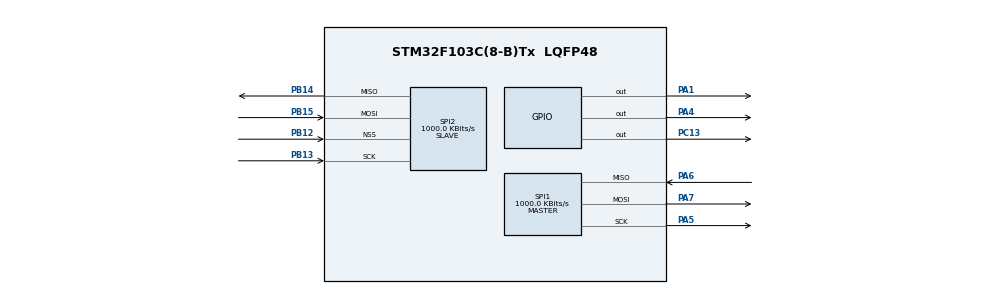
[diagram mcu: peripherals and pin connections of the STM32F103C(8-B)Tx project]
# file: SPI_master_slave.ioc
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Mcu.Family=STM32F1
Mcu.Name=STM32F103C(8-B)Tx
Mcu.Package=LQFP48
NVIC.PriorityGroup=NVIC_PRIORITYGROUP_4
NVIC.SPI1_IRQn=true\:0\:0\:false\:false\:true\:true\:true
NVIC.SPI2_IRQn=true\:0\:0\:false\:false\:true\:true\:true
PA1.PinState=GPIO_PIN_SET
PA1.Signal=GPIO_Output
PA13.Mode=Serial_Wire
PA13.Signal=SYS_JTMS-SWDIO
PA14.Mode=Serial_Wire
PA14.Signal=SYS_JTCK-SWCLK
PA4.PinState=GPIO_PIN_SET
PA4.Signal=GPIO_Output
PA5.Mode=Full_Duplex_Master
PA5.Signal=SPI1_SCK
PA6.Mode=Full_Duplex_Master
PA6.Signal=SPI1_MISO
PA7.Mode=Full_Duplex_Master
PA7.Signal=SPI1_MOSI
PB12.Mode=NSS_Signal_Hard_Input
PB12.Signal=SPI2_NSS
PB13.Mode=Full_Duplex_Slave
PB13.Signal=SPI2_SCK
PB14.Mode=Full_Duplex_Slave
PB14.Signal=SPI2_MISO
PB15.Mode=Full_Duplex_Slave
PB15.Signal=SPI2_MOSI
PC13-TAMPER-RTC.PinState=GPIO_PIN_SET
PC13-TAMPER-RTC.Signal=GPIO_Output
ProjectManager.HeapSize=0x200
ProjectManager.StackSize=0x400
ProjectManager.TargetToolchain=STM32CubeIDE
RCC.APB1Freq_Value=8000000
RCC.APB2Freq_Value=8000000
SPI1.BaudRatePrescaler=SPI_BAUDRATEPRESCALER_8
SPI1.CalculateBaudRate=1000.0 KBits/s
SPI1.Direction=SPI_DIRECTION_2LINES
SPI1.Mode=SPI_MODE_MASTER
SPI1.VirtualType=VM_MASTER
SPI2.BaudRatePrescaler=SPI_BAUDRATEPRESCALER_8
SPI2.CalculateBaudRate=1000.0 KBits/s
SPI2.Direction=SPI_DIRECTION_2LINES
SPI2.Mode=SPI_MODE_SLAVE
SPI2.VirtualNSS=VM_NSSHARD
SPI2.VirtualType=VM_SLAVE
board=custom

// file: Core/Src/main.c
/* USER CODE BEGIN Header */
/**
  ******************************************************************************
  * @file           : main.c
  * @brief          : Main program body
  ******************************************************************************
  * @attention
  *
  * <h2><center>&copy; Copyright (c) 2021 STMicroelectronics.
  * All rights reserved.</center></h2>
  *
  * This software component is licensed by ST under BSD 3-Clause license,
  * the "License"; You may not use this file except in compliance with the
  * License. You may obtain a copy of the License at:
  *                        opensource.org/licenses/BSD-3-Clause
  *
  ******************************************************************************
  */
/* USER CODE END Header */
#include "main.h"

/* USER CODE BEGIN Includes */
#include <string.h>
#include <stdio.h>

#define sizeofBuff 1
uint8_t SPI1_TxBuff[] = "d";
uint8_t SPI2_RxBuff[sizeofBuff];

/* USER CODE END Includes */

SPI_HandleTypeDef hspi1;
SPI_HandleTypeDef hspi2;

void SystemClock_Config(void);
static void MX_GPIO_Init(void);
static void MX_SPI1_Init(void);
static void MX_SPI2_Init(void);

/* USER CODE BEGIN 0 */

//uint8_t str_transmit[] = "hoang\r\n";
//uint8_t str_receive[100];

/* USER CODE END 0 */

int main(void)
{

  /* MCU Configuration--------------------------------------------------------*/

  /* Reset of all peripherals, Initializes the Flash interface and the Systick. */
  HAL_Init();

  /* Configure the system clock */
  SystemClock_Config();

  /* Initialize all configured peripherals */
  MX_GPIO_Init();
  MX_SPI1_Init();
  MX_SPI2_Init();

  /* Infinite loop */
  /* USER CODE BEGIN WHILE */
  HAL_SPI_Receive_IT(&hspi2, SPI2_RxBuff, sizeofBuff);
  HAL_SPI_Transmit(&hspi1, SPI1_TxBuff,(uint16_t)strlen((char*)SPI1_TxBuff) , HAL_MAX_DELAY);

  while (1)
  {
    /* USER CODE END WHILE */

    /* USER CODE BEGIN 3 */
	  HAL_GPIO_WritePin(GPIOA, GPIO_PIN_4, RESET);

	  HAL_SPI_Transmit(&hspi1, SPI1_TxBuff,(uint16_t)strlen((char*)SPI1_TxBuff) , HAL_MAX_DELAY);
	  {
		  HAL_GPIO_WritePin(GPIOC, GPIO_PIN_13, RESET);
	  }
	  HAL_Delay(1000);
  }
  /* USER CODE END 3 */
}

void SystemClock_Config(void)
{
  RCC_OscInitTypeDef RCC_OscInitStruct = {0};
  RCC_ClkInitTypeDef RCC_ClkInitStruct = {0};

  /** Initializes the RCC Oscillators according to the specified parameters
  * in the RCC_OscInitTypeDef structure.
  */
  RCC_OscInitStruct.OscillatorType = RCC_OSCILLATORTYPE_HSI;
  RCC_OscInitStruct.HSIState = RCC_HSI_ON;
  RCC_OscInitStruct.HSICalibrationValue = RCC_HSICALIBRATION_DEFAULT;
  RCC_OscInitStruct.PLL.PLLState = RCC_PLL_NONE;
  if (HAL_RCC_OscConfig(&RCC_OscInitStruct) != HAL_OK)
  {
    Error_Handler();
  }
  /** Initializes the CPU, AHB and APB buses clocks
  */
  RCC_ClkInitStruct.ClockType = RCC_CLOCKTYPE_HCLK|RCC_CLOCKTYPE_SYSCLK
                              |RCC_CLOCKTYPE_PCLK1|RCC_CLOCKTYPE_PCLK2;
  RCC_ClkInitStruct.SYSCLKSource = RCC_SYSCLKSOURCE_HSI;
  RCC_ClkInitStruct.AHBCLKDivider = RCC_SYSCLK_DIV1;
  RCC_ClkInitStruct.APB1CLKDivider = RCC_HCLK_DIV1;
  RCC_ClkInitStruct.APB2CLKDivider = RCC_HCLK_DIV1;

  if (HAL_RCC_ClockConfig(&RCC_ClkInitStruct, FLASH_LATENCY_0) != HAL_OK)
  {
    Error_Handler();
  }
}

static void MX_SPI1_Init(void)
{

  /* SPI1 parameter configuration*/
  hspi1.Instance = SPI1;
  hspi1.Init.Mode = SPI_MODE_MASTER;
  hspi1.Init.Direction = SPI_DIRECTION_2LINES;
  hspi1.Init.DataSize = SPI_DATASIZE_8BIT;
  hspi1.Init.CLKPolarity = SPI_POLARITY_LOW;
  hspi1.Init.CLKPhase = SPI_PHASE_1EDGE;
  hspi1.Init.NSS = SPI_NSS_SOFT;
  hspi1.Init.BaudRatePrescaler = SPI_BAUDRATEPRESCALER_8;
  hspi1.Init.FirstBit = SPI_FIRSTBIT_MSB;
  hspi1.Init.TIMode = SPI_TIMODE_DISABLE;
  hspi1.Init.CRCCalculation = SPI_CRCCALCULATION_DISABLE;
  hspi1.Init.CRCPolynomial = 10;
  if (HAL_SPI_Init(&hspi1) != HAL_OK)
  {
    Error_Handler();
  }

}

static void MX_SPI2_Init(void)
{

  /* SPI2 parameter configuration*/
  hspi2.Instance = SPI2;
  hspi2.Init.Mode = SPI_MODE_SLAVE;
  hspi2.Init.Direction = SPI_DIRECTION_2LINES;
  hspi2.Init.DataSize = SPI_DATASIZE_8BIT;
  hspi2.Init.CLKPolarity = SPI_POLARITY_LOW;
  hspi2.Init.CLKPhase = SPI_PHASE_1EDGE;
  hspi2.Init.NSS = SPI_NSS_HARD_INPUT;
  hspi2.Init.BaudRatePrescaler = SPI_BAUDRATEPRESCALER_8;
  hspi2.Init.FirstBit = SPI_FIRSTBIT_MSB;
  hspi2.Init.TIMode = SPI_TIMODE_DISABLE;
  hspi2.Init.CRCCalculation = SPI_CRCCALCULATION_DISABLE;
  hspi2.Init.CRCPolynomial = 10;
  if (HAL_SPI_Init(&hspi2) != HAL_OK)
  {
    Error_Handler();
  }

}

static void MX_GPIO_Init(void)
{
  GPIO_InitTypeDef GPIO_InitStruct = {0};

  /* GPIO Ports Clock Enable */
  __HAL_RCC_GPIOC_CLK_ENABLE();
  __HAL_RCC_GPIOA_CLK_ENABLE();
  __HAL_RCC_GPIOB_CLK_ENABLE();

  /*Configure GPIO pin Output Level */
  HAL_GPIO_WritePin(GPIOC, GPIO_PIN_13, GPIO_PIN_SET);

  /*Configure GPIO pin Output Level */
  HAL_GPIO_WritePin(GPIOA, GPIO_PIN_1|GPIO_PIN_4, GPIO_PIN_SET);

  /*Configure GPIO pin : PC13 */
  GPIO_InitStruct.Pin = GPIO_PIN_13;
  GPIO_InitStruct.Mode = GPIO_MODE_OUTPUT_PP;
  GPIO_InitStruct.Pull = GPIO_NOPULL;
  GPIO_InitStruct.Speed = GPIO_SPEED_FREQ_LOW;
  HAL_GPIO_Init(GPIOC, &GPIO_InitStruct);

  /*Configure GPIO pins : PA1 PA4 */
  GPIO_InitStruct.Pin = GPIO_PIN_1|GPIO_PIN_4;
  GPIO_InitStruct.Mode = GPIO_MODE_OUTPUT_PP;
  GPIO_InitStruct.Pull = GPIO_NOPULL;
  GPIO_InitStruct.Speed = GPIO_SPEED_FREQ_LOW;
  HAL_GPIO_Init(GPIOA, &GPIO_InitStruct);

}

/* USER CODE BEGIN 4 */
void HAL_SPI_RxCpltCallback(SPI_HandleTypeDef *hspi)
{
  /* Prevent unused argument(s) compilation warning */
  UNUSED(hspi);
  if(hspi->Instance == SPI2)
  {
	  HAL_SPI_Receive_IT(&hspi2, SPI2_RxBuff, sizeofBuff);
	  HAL_GPIO_WritePin(GPIOC, GPIO_PIN_13, SET);
  }
  /* NOTE : This function should not be modified, when the callback is needed,
            the HAL_SPI_RxCpltCallback should be implemented in the user file
   */
}
/* USER CODE END 4 */

void Error_Handler(void)
{
  __disable_irq();
  while (1)
  {
  }
}

/************************ (C) COPYRIGHT STMicroelectronics *****END OF FILE****/
